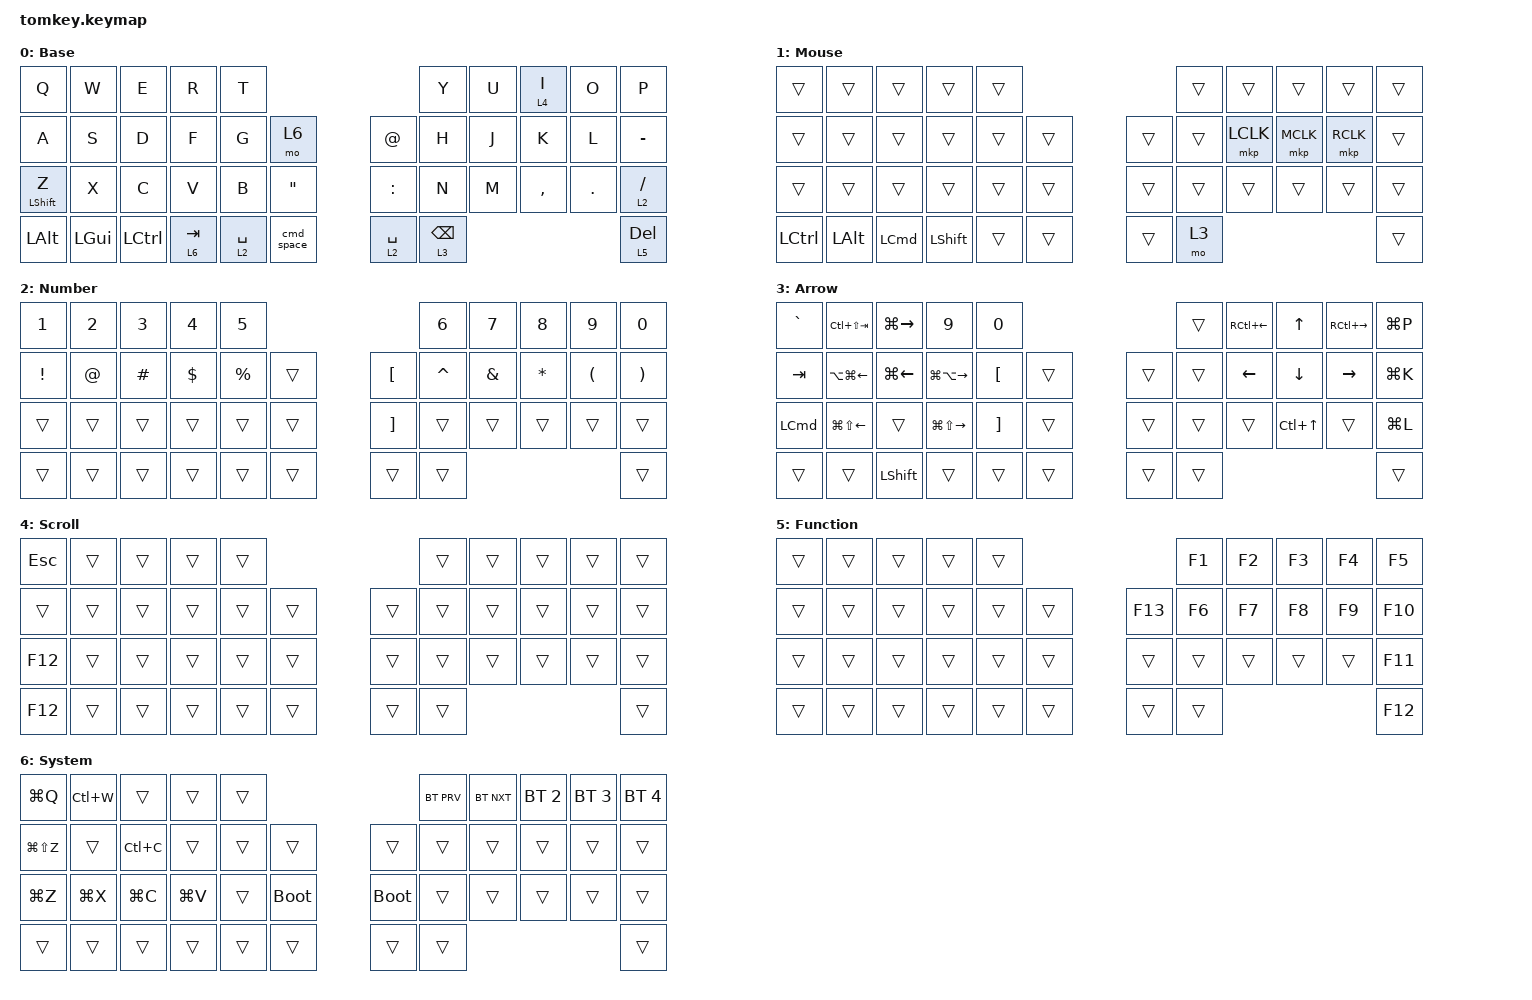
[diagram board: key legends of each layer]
/*
 * Copyright (c) 2020 The ZMK Contributors
 *
 * SPDX-License-Identifier: MIT
 */

#include <dt-bindings/zmk/mouse.h>
#include <behaviors.dtsi>
#include <dt-bindings/zmk/bt.h>
#include <dt-bindings/zmk/keys.h>
#include <dt-bindings/zmk/pointing.h>

// Layer definitions for clarity

#define DEFAULT 0
#define MOUSE 1
#define NUM 2
#define ARROW 3
#define SCROLL 4
#define FUNCTION 5
#define SYSTEM 6

// Configure existing behaviors

&mt {
    flavor = "balanced";
    quick-tap-ms = <0>;
};

&sl { release-after-ms = <250>; };

/ {
    // ========================
    // COMBOS SECTION
    // ========================

    combos {
        compatible = "zmk,combos";

        // Mouse layer toggle - J+K keys

        mouse_toggle {
            bindings = <&tog MOUSE>;
            key-positions = <18 19>;
            timeout-ms = <50>;
        };

        // Navigation combos

        tab {
            bindings = <&kp TAB>;
            key-positions = <10 11>;
        };

        alt_tab {
            bindings = <&kp LA(TAB)>;
            key-positions = <11 12>;
        };

        // Punctuation combos

        enter_combo {
            bindings = <&kp ENTER>;
            key-positions = <20 21>;
        };

        equals {
            bindings = <&kp EQUAL>;
            key-positions = <7 8>;
        };

        escape {
            bindings = <&kp ESCAPE>;
            key-positions = <0 1>;
        };

        // Letter combos

        shift_z {
            bindings = <&kp LS(Z)>;
            key-positions = <22 23>;
        };

        question_mark {
            bindings = <&kp RS(SLASH)>;
            key-positions = <32 33>;
        };

        bs {
            bindings = <&kp BSPC>;
            key-positions = <8 9>;
        };
    };

    // ========================
    // MACROS SECTION
    // ========================

    macros {
        // Command+Space macro for Mac

        cmd_space: cmd_space {
            compatible = "zmk,behavior-macro";
            #binding-cells = <0>;
            bindings = <&kp LG(SPACE)>;
            label = "CMD_SPACE";
        };
    };

    keymap {
        compatible = "zmk,keymap";

        default_layer {
            display-name = "Base";

            // Left: 23 keys, Right: 20 keys = 43 total

            bindings = <
&kp Q             &kp W     &kp E             &kp R      &kp T        &kp Y              &kp U        &lt 4 I          &kp O      &kp P
&kp A             &kp S     &kp D             &kp F      &kp G        &mo 6              &kp AT_SIGN  &kp H            &kp J      &kp K      &kp L    &kp MINUS
&mt LEFT_SHIFT Z  &kp X     &kp C             &kp V      &kp B        &kp DOUBLE_QUOTES  &kp COLON    &kp N            &kp M      &kp COMMA  &kp DOT  &lt 2 SLASH
&kp LEFT_ALT      &kp LGUI  &kp LEFT_CONTROL  &lt 6 TAB  &lt 2 SPACE  &cmd_space         &lt 2 SPACE  &lt 3 BACKSPACE  &lt 5 DEL
            >;
        };

        MOUSE {
            display-name = "Mouse";
            bindings = <
&trans     &trans        &trans            &trans          &trans  &trans  &trans  &trans  &trans     &trans
&trans     &trans        &trans            &trans          &trans  &trans  &trans  &trans  &mkp LCLK  &mkp MCLK  &mkp RCLK  &trans
&trans     &trans        &trans            &trans          &trans  &trans  &trans  &trans  &trans     &trans     &trans     &trans
&kp LCTRL  &kp LEFT_ALT  &kp LEFT_COMMAND  &kp LEFT_SHIFT  &trans  &trans  &trans  &mo 3   &trans
            >;
        };

        NUM {
            display-name = "Number";
            bindings = <
&kp NUMBER_1     &kp NUMBER_2  &kp NUMBER_3  &kp NUMBER_4  &kp NUMBER_5  &kp NUMBER_6  &kp NUMBER_7       &kp NUMBER_8  &kp NUMBER_9   &kp NUMBER_0
&kp EXCLAMATION  &kp AT_SIGN   &kp HASH      &kp DOLLAR    &kp PERCENT   &trans        &kp LEFT_BRACKET   &kp CARET     &kp AMPERSAND  &kp ASTERISK  &kp LEFT_PARENTHESIS  &kp RIGHT_PARENTHESIS
&trans           &trans        &trans        &trans        &trans        &trans        &kp RIGHT_BRACKET  &trans        &trans         &trans        &trans                &trans
&trans           &trans        &trans        &trans        &trans        &trans        &trans             &trans        &trans
            >;
        };

        ARROW {
            display-name = "Arrow";
            bindings = <
&kp GRAVE  &kp LC(LS(TAB))         &kp LG(RIGHT)   &kp NUMBER_9             &kp NUMBER_0       &trans  &kp RC(LEFT_ARROW)  &kp UP_ARROW  &kp RC(RIGHT_ARROW)  &kp LG(P)
&kp TAB    &kp LA(LG(LEFT_ARROW))  &kp LG(LEFT)    &kp LG(LA(RIGHT_ARROW))  &kp LEFT_BRACKET   &trans  &trans              &trans        &kp LEFT_ARROW       &kp DOWN_ARROW    &kp RIGHT_ARROW  &kp LG(K)
&kp LCMD   &kp LG(LS(LEFT_ARROW))  &trans          &kp LG(LS(RIGHT_ARROW))  &kp RIGHT_BRACKET  &trans  &trans              &trans        &trans               &kp LC(UP_ARROW)  &trans           &kp LG(L)
&trans     &trans                  &kp LEFT_SHIFT  &trans                   &trans             &trans  &trans              &trans        &trans
            >;
        };

        SCROLL {
            display-name = "Scroll";
            bindings = <
&kp ESCAPE  &trans  &trans  &trans  &trans  &trans  &trans  &trans  &trans  &trans
&trans      &trans  &trans  &trans  &trans  &trans  &trans  &trans  &trans  &trans  &trans  &trans
&kp F12     &trans  &trans  &trans  &trans  &trans  &trans  &trans  &trans  &trans  &trans  &trans
&kp F12     &trans  &trans  &trans  &trans  &trans  &trans  &trans  &trans
            >;
        };

        FUNCTION {
            display-name = "Function";
            bindings = <
&trans  &trans  &trans  &trans  &trans  &kp F1  &kp F2   &kp F3  &kp F4   &kp F5
&trans  &trans  &trans  &trans  &trans  &trans  &kp F13  &kp F6  &kp F7   &kp F8  &kp F9  &kp F10
&trans  &trans  &trans  &trans  &trans  &trans  &trans   &trans  &trans   &trans  &trans  &kp F11
&trans  &trans  &trans  &trans  &trans  &trans  &trans   &trans  &kp F12
            >;
        };

        SYSTEM {
            display-name = "System";
            bindings = <
&kp LG(Q)      &kp LC(W)  &trans     &trans     &trans  &bt BT_PRV   &bt BT_NXT   &bt BT_SEL 2  &bt BT_SEL 3  &bt BT_SEL 4
&kp LG(LS(Z))  &trans     &kp LC(C)  &trans     &trans  &trans       &trans       &trans        &trans        &trans        &trans  &trans
&kp LG(Z)      &kp LG(X)  &kp LG(C)  &kp LG(V)  &trans  &bootloader  &bootloader  &trans        &trans        &trans        &trans  &trans
&trans         &trans     &trans     &trans     &trans  &trans       &trans       &trans        &trans
            >;
        };
    };
};
